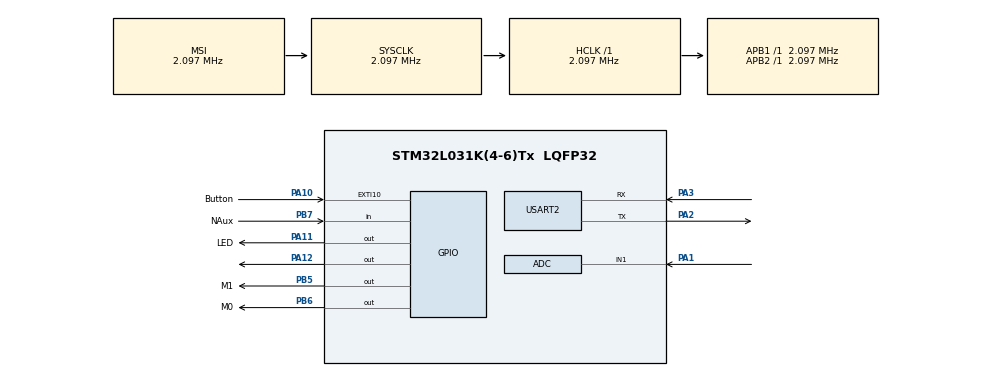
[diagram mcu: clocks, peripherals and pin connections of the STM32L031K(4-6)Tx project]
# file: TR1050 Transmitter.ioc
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Mcu.Family=STM32L0
Mcu.Name=STM32L031K(4-6)Tx
Mcu.Package=LQFP32
PA1.Mode=IN1
PA1.Signal=ADC_IN1
PA10.GPIO_Label=Button
PA10.Signal=GPXTI10
PA11.GPIO_Label=LED
PA11.Signal=GPIO_Output
PA12.Signal=GPIO_Output
PA13.Mode=Serial_Wire
PA13.Signal=SYS_SWDIO
PA14.Mode=Serial_Wire
PA14.Signal=SYS_SWCLK
PA2.Mode=Asynchronous
PA2.Signal=USART2_TX
PA3.Mode=Asynchronous
PA3.Signal=USART2_RX
PB5.GPIO_Label=M1
PB5.Signal=GPIO_Output
PB6.GPIO_Label=M0
PB6.Signal=GPIO_Output
PB7.GPIO_Label=NAux
PB7.Signal=GPIO_Input
ProjectManager.HeapSize=0x200
ProjectManager.StackSize=0x400
ProjectManager.TargetToolchain=STM32CubeIDE
RCC.AHBFreq_Value=2097000
RCC.APB1Freq_Value=2097000
RCC.APB1TimFreq_Value=2097000
RCC.APB2Freq_Value=2097000
RCC.APB2TimFreq_Value=2097000
RCC.HSE_VALUE=8000000
RCC.HSI16_VALUE=16000000
RCC.HSI_VALUE=16000000
RCC.LSE_VALUE=32768
RCC.MSI_VALUE=2097000
RCC.SYSCLKFreq_VALUE=2097000
RCC.VCOOutputFreq_Value=48000000
USART2.VirtualMode-Asynchronous=VM_ASYNC
board=custom

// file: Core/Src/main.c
/* USER CODE BEGIN Header */
/* USER CODE END Header */
#include "main.h"
/* USER CODE BEGIN Includes */
#include "aes.h"
#include <string.h>
#include <stdio.h>
/* USER CODE END Includes */

/* USER CODE BEGIN PTD */
typedef enum {
    E22_MODE_NORMAL = 0,      // M1=0, M0=0 - Transparent transmission
    E22_MODE_WOR = 1,         // M1=0, M0=1 - Wake on radio
    E22_MODE_POWERSAVE = 3,   // M1=1, M0=1 - Sleep mode
    E22_MODE_CONFIG = 2       // M1=1, M0=0 - Configuration mode
} E22_Mode_t;

// E22 Configuration Structure (Per datasheet section 7.2)
typedef struct __attribute__((packed)) {
    uint8_t addh;           // 0x00: Address high byte
    uint8_t addl;           // 0x01: Address low byte
    uint8_t netid;          // 0x02: Network ID
    uint8_t reg0;           // 0x03: UART baud + parity + air data rate
    uint8_t reg1;           // 0x04: Sub-packet + RSSI ambient noise + TX power
    uint8_t reg2;           // 0x05: Channel (0-80)
    uint8_t reg3;           // 0x06: RSSI enable + fixed point + repeater + LBT + WOR
    uint8_t crypt_h;        // 0x07: Encryption key high (write only)
    uint8_t crypt_l;        // 0x08: Encryption key low (write only)
} E22_Config_t;

// LoRa Packet Structure (must match repeater and controller)
typedef struct __attribute__((packed)) {
    uint8_t device_id;
    uint8_t nc_number;
    uint32_t counter;
    uint16_t battery_mv;
    uint8_t status;
    uint32_t timestamp;
    uint8_t mac[4];
    uint8_t padding[15];
} LoRaPacket;
/* USER CODE END PTD */

/* USER CODE BEGIN PD */
// Configuration
#define DEVICE_ID 0x01              // Unique device ID
#define NC_NUMBER 0x01              // Network controller number
#define BATTERY_LOW_THRESHOLD 10.5  // Volts
#define UART_TIMEOUT 1000           // ms

// E22 Commands
#define E22_CMD_READ_CONFIG     0xC1
#define E22_CMD_WRITE_CONFIG    0xC0
#define E22_CMD_READ_VERSION    0xC3

// AES-128 Key (MUST match all nodes - CHANGE THIS!)
const uint8_t AES_KEY[16] = {
    0x2B, 0x7E, 0x15, 0x16, 0x28, 0xAE, 0xD2, 0xA6,
    0xAB, 0xF7, 0x97, 0x46, 0x09, 0xCF, 0x4F, 0x3C
};
/* USER CODE END PD */

ADC_HandleTypeDef hadc;

UART_HandleTypeDef huart2;

void SystemClock_Config(void);
static void MX_GPIO_Init(void);
static void MX_USART2_UART_Init(void);
static void MX_ADC_Init(void);
/* USER CODE BEGIN PFP */
static uint32_t packet_counter = 0;
static struct AES_ctx aes_ctx;
// E22 Module Functions
void E22_Set_Mode(E22_Mode_t mode);
void E22_Wait_AUX_High(void);
void E22_Configure(void);

// Application Functions
float Read_Battery_Voltage(void);
void Send_LoRa_Packet(void);
void Enter_Stop_Mode(void);
void TR_Init(void);
void TR_Main_Cycle(void);

// Encryption Functions
void Compute_MAC(uint8_t* data, uint16_t len, uint8_t* mac_out);
void Encrypt_Packet(LoRaPacket* pkt);

// Debug Functions
//void Debug_Print(const char* msg);
/* USER CODE END PFP */

/* USER CODE BEGIN 0 */
void E22_Set_Mode(E22_Mode_t mode) {
    switch(mode) {
        case E22_MODE_NORMAL:
            HAL_GPIO_WritePin(GPIOB, M0_Pin, GPIO_PIN_RESET);
            HAL_GPIO_WritePin(GPIOB, M1_Pin, GPIO_PIN_RESET);
            //Debug_Print("[E22] Mode: NORMAL\r\n");
            break;
        case E22_MODE_WOR:
            HAL_GPIO_WritePin(GPIOB, M0_Pin, GPIO_PIN_SET);
            HAL_GPIO_WritePin(GPIOB, M1_Pin, GPIO_PIN_RESET);
            //Debug_Print("[E22] Mode: WOR\r\n");
            break;
        case E22_MODE_POWERSAVE:
            HAL_GPIO_WritePin(GPIOB, M0_Pin, GPIO_PIN_SET);
            HAL_GPIO_WritePin(GPIOB, M1_Pin, GPIO_PIN_SET);
            //Debug_Print("[E22] Mode: POWER SAVE\r\n");
            break;
        case E22_MODE_CONFIG:
            HAL_GPIO_WritePin(GPIOB, M0_Pin, GPIO_PIN_RESET);
            HAL_GPIO_WritePin(GPIOB, M1_Pin, GPIO_PIN_SET);
            //Debug_Print("[E22] Mode: CONFIG\r\n");
            break;
    }
    HAL_Delay(50); // Wait for mode change
}

void E22_Wait_AUX_High(void) {
    uint32_t timeout = HAL_GetTick() + 2000;
    while (HAL_GPIO_ReadPin(GPIOB, NAux_Pin) == GPIO_PIN_RESET) {
            if (HAL_GetTick() > timeout) {
                //Debug_Print("[E22] AUX timeout!\r\n");
                break;
            }
            HAL_Delay(1);
    }
}

// ===================== E22 CONFIGURATION =====================
void E22_Configure(void) {
    E22_Config_t config;
    uint8_t cmd_buf[12];

    //Debug_Print("[E22] Configuring module...\r\n");

    // Enter config mode
    E22_Set_Mode(E22_MODE_CONFIG);
    E22_Wait_AUX_High();
    HAL_Delay(50);

    // Read current configuration (datasheet section 7.1)
    cmd_buf[0] = E22_CMD_READ_CONFIG;  // 0xC1
    cmd_buf[1] = 0x00;                  // Start address
    cmd_buf[2] = 0x09;                  // Length (9 bytes: 0x00-0x08)

    HAL_UART_Transmit(&huart2, cmd_buf, 3, UART_TIMEOUT);
    HAL_Delay(100);

    uint8_t rx_buf[12];
    HAL_StatusTypeDef status = HAL_UART_Receive(&huart2, rx_buf, 12, UART_TIMEOUT);

    if (status == HAL_OK && rx_buf[0] == 0xC1) {
        // Parse response (format: C1 + start_addr + length + data)
        memcpy(&config, &rx_buf[3], 9);
        //Debug_Print("[E22] Config read OK\r\n");
    } else {
        // Use defaults if read fails
        memset(&config, 0, sizeof(config));
        //Debug_Print("[E22] Using defaults\r\n");
    }

    // Configure registers per datasheet
    config.addh = 0x00;           // Module address high (broadcast)
    config.addl = 0x00;           // Module address low (broadcast)
    config.netid = NC_NUMBER;     // Network ID (must match NC and XR)

    // REG0 (0x03): UART + Air data rate
    // Bits 7-5: UART baud (011 = 9600)
    // Bits 4-3: Parity (00 = 8N1)
    // Bits 2-0: Air rate (010 = 2.4kbps)
    config.reg0 = 0x62;           // 0b01100010 = 9600bps, 8N1, 2.4kbps

    // REG1 (0x04): Sub-packet + RSSI + Power
    // Bits 7-6: Sub-packet (00 = 240 bytes)
    // Bit 5: RSSI ambient noise (0 = disabled)
    // Bits 4-2: Reserved (000)
    // Bits 1-0: TX power (00 = 22dBm)
    config.reg1 = 0x00;           // 0b00000000 = 240 bytes, no ambient RSSI, 22dBm

    // REG2 (0x05): Channel
    // Channel = 0x11 (17) → Frequency = 850.125 + 17*1 = 867.125 MHz
    // For 915 MHz: use channel 0x41 (65) → 915.125 MHz
    config.reg2 = 0x41;           // Channel 65 = 915.125 MHz (adjust for region)

    // REG3 (0x06): RSSI + Fixed point + Repeater + LBT + WOR
    // Bit 7: RSSI enable (0 = disabled)
    // Bit 6: Fixed point (0 = transparent mode)
    // Bit 5: Repeater (0 = disabled)
    // Bit 4: LBT (0 = disabled)
    // Bit 3: WOR mode (0 = WOR receiver)
    // Bits 2-0: WOR cycle (000 = 500ms)
    config.reg3 = 0x00;           // 0b00000000 = All disabled, transparent mode

    // Encryption keys (write only, read returns 0)
    config.crypt_h = 0x00;        // No hardware encryption (we use AES)
    config.crypt_l = 0x00;

    // Write configuration (datasheet section 7.1)
    cmd_buf[0] = E22_CMD_WRITE_CONFIG;  // 0xC0
    cmd_buf[1] = 0x00;                   // Start address
    cmd_buf[2] = 0x09;                   // Length
    memcpy(&cmd_buf[3], &config, 9);

    HAL_UART_Transmit(&huart2, cmd_buf, 12, UART_TIMEOUT);
    E22_Wait_AUX_High();
    HAL_Delay(100);

    // Verify configuration by reading back
    cmd_buf[0] = E22_CMD_READ_CONFIG;
    cmd_buf[1] = 0x00;
    cmd_buf[2] = 0x09;
    HAL_UART_Transmit(&huart2, cmd_buf, 3, UART_TIMEOUT);
    HAL_Delay(50);

    if (HAL_UART_Receive(&huart2, rx_buf, 12, UART_TIMEOUT) == HAL_OK) {
        if (rx_buf[0] == 0xC1 && rx_buf[5] == config.reg0) {
        	HAL_GPIO_WritePin(GPIOA, LED_Pin, GPIO_PIN_SET);
        	HAL_Delay(50);
        	HAL_GPIO_WritePin(GPIOA, LED_Pin, GPIO_PIN_RESET);
        } else {
            for (int i = 0; i <= 2; i++)
            {
            	HAL_GPIO_WritePin(GPIOA, LED_Pin, GPIO_PIN_SET);
            	HAL_Delay(50);
            	HAL_GPIO_WritePin(GPIOA, LED_Pin, GPIO_PIN_RESET);
            }
        }
    }

    //Debug_Print("[E22] Configuration complete\r\n");

    // Return to normal mode
    E22_Set_Mode(E22_MODE_NORMAL);
    HAL_Delay(50);
}

// ===================== BATTERY MEASUREMENT =====================
float Read_Battery_Voltage(void) {
    uint32_t adc_value = 0;

    // Start ADC conversion
    HAL_ADC_Start(&hadc);
    if (HAL_ADC_PollForConversion(&hadc, 100) == HAL_OK) {
        adc_value = HAL_ADC_GetValue(&hadc);
    }
    HAL_ADC_Stop(&hadc);

    // Voltage divider calculation: 51K + 51K (divide by 2)
    // Vbatt = (ADC / 4096) * 3.3V * 2
    float voltage = (adc_value / 4096.0f) * 3.3f * 2.0f;

    return voltage;
}

// ===================== ENCRYPTION & MAC =====================
void Compute_MAC(uint8_t* data, uint16_t len, uint8_t* mac_out) {
    uint8_t temp[16] = {0};

    // Copy last 16 bytes (or less if packet smaller)
    uint16_t copy_len = (len >= 16) ? 16 : len;
    memcpy(temp, data + len - copy_len, copy_len);

    // Encrypt to generate MAC
    AES_init_ctx(&aes_ctx, AES_KEY);
    AES_ECB_encrypt(&aes_ctx, temp);

    // Use first 4 bytes as MAC
    memcpy(mac_out, temp, 4);
}

void Encrypt_Packet(LoRaPacket* pkt) {
    // Encrypt entire packet (16 bytes exactly)
    AES_init_ctx(&aes_ctx, AES_KEY);
    for (int i = 0; i < 32; i += 16) {
        AES_ECB_encrypt(&aes_ctx, ((uint8_t*)pkt) + i);
    }

}

// ===================== LORA TRANSMIT =====================
void Send_LoRa_Packet(void) {
    LoRaPacket packet = {0};
    char debug_msg[64];

    //Debug_Print("\r\n[TX] Building packet...\r\n");

    // LED ON
    HAL_GPIO_WritePin(GPIOA, LED_Pin, GPIO_PIN_SET);

    // Read battery voltage
    float battery = Read_Battery_Voltage();

    // Build packet
    packet.device_id = DEVICE_ID;
    packet.nc_number = NC_NUMBER;
    packet.counter = packet_counter++;
    packet.battery_mv = (uint16_t)(battery * 1000);
    packet.status = (battery < BATTERY_LOW_THRESHOLD) ? 0x01 : 0x00;
    packet.timestamp = HAL_GetTick();

    // Compute MAC (before encryption)
    Compute_MAC((uint8_t*)&packet, sizeof(packet) - 4, packet.mac);

    // Encrypt packet
    Encrypt_Packet(&packet);

    //Debug_Print("[TX] Packet encrypted\r\n");

    // Ensure module is ready
    E22_Wait_AUX_High();

    // Send via UART (transparent mode)
    HAL_StatusTypeDef status = HAL_UART_Transmit(&huart2, (uint8_t*)&packet,
                                                  sizeof(packet), UART_TIMEOUT);

    if (status == HAL_OK) {
        //Debug_Print("[TX] Packet sent successfully\r\n");
    	HAL_GPIO_WritePin(GPIOA, LED_Pin, GPIO_PIN_RESET);
    	HAL_Delay(50);
    	HAL_GPIO_WritePin(GPIOA, LED_Pin, GPIO_PIN_SET);
    } else {
        //Debug_Print("[TX] ERROR: Transmission failed\r\n");
    	 for (int i = 0; i <= 2; i++)
    	  {
    	     HAL_GPIO_WritePin(GPIOA, LED_Pin, GPIO_PIN_SET);
    	     HAL_Delay(50);
    	     HAL_GPIO_WritePin(GPIOA, LED_Pin, GPIO_PIN_RESET);
    	  }
    }

    // Wait for transmission to complete
    E22_Wait_AUX_High();
    HAL_Delay(100);

    // LED OFF
    HAL_GPIO_WritePin(GPIOA, LED_Pin, GPIO_PIN_RESET);
}

// ===================== POWER MANAGEMENT =====================
void Enter_Stop_Mode(void) {
    //Debug_Print("[PWR] Entering sleep mode...\r\n\r\n");
    HAL_Delay(50); // Allow UART to finish

    // Put E22 in power save mode
    E22_Set_Mode(E22_MODE_POWERSAVE);

    // Enter STOP mode (will wake on EXTI interrupt)
    HAL_SuspendTick();
    HAL_PWR_EnterSTOPMode(PWR_LOWPOWERREGULATOR_ON, PWR_STOPENTRY_WFI);

    // Woken up - reconfigure clocks
    HAL_ResumeTick();
    SystemClock_Config();

    // Wake E22 back to normal mode
    E22_Set_Mode(E22_MODE_NORMAL);
    HAL_Delay(50);

    //Debug_Print("[PWR] Woken up!\r\n");
}

// ===================== INITIALIZATION =====================
void TR_Init(void) {
    char msg[64];

    //Debug_Print("\r\n=================================\r\n");
    //Debug_Print("  Nova TR - Secure Transmitter\r\n");
    //Debug_Print("=================================\r\n");

    sprintf(msg, "Device ID: 0x%02X\r\n", DEVICE_ID);
    //Debug_Print(msg);

    sprintf(msg, "NC Number: 0x%02X\r\n", NC_NUMBER);
    //Debug_Print(msg);

    // Initialize GPIO for mode control
    HAL_GPIO_WritePin(GPIOB, M0_Pin, GPIO_PIN_RESET);
    HAL_GPIO_WritePin(GPIOB, M1_Pin, GPIO_PIN_RESET);
    HAL_Delay(100);

    // Configure E22 module
    E22_Configure();

    // Test battery reading
    float battery = Read_Battery_Voltage();

    if (battery < BATTERY_LOW_THRESHOLD) {
        //Debug_Print("WARNING: Battery LOW!\r\n");
    }

    // Initial LED blink pattern
    for (int i = 0; i < 5; i++) {
        HAL_GPIO_WritePin(GPIOA, LED_Pin, GPIO_PIN_SET);
        HAL_Delay(100);
        HAL_GPIO_WritePin(GPIOA, LED_Pin, GPIO_PIN_RESET);
        HAL_Delay(100);
    }

    //Debug_Print("[TR] Initialization complete\r\n");
    //Debug_Print("Press button to send packet...\r\n\r\n");
}

// ===================== MAIN CYCLE =====================
void TR_Main_Cycle(void) {
    // Send packet
    Send_LoRa_Packet();

    // Enter sleep mode (wake on button press)
    Enter_Stop_Mode();
}
/* USER CODE END 0 */

int main(void)
{

  /* MCU Configuration--------------------------------------------------------*/

  /* Reset of all peripherals, Initializes the Flash interface and the Systick. */
  HAL_Init();

  /* Configure the system clock */
  SystemClock_Config();

  /* Initialize all configured peripherals */
  MX_GPIO_Init();
  MX_USART2_UART_Init();
  MX_ADC_Init();
  /* USER CODE BEGIN 2 */
  TR_Init();
  /* USER CODE END 2 */

  /* Infinite loop */
  while (1)
   {

    /* USER CODE BEGIN 3 */

     // Check if button pressed (PC13 - blue button)
     if (HAL_GPIO_ReadPin(GPIOA, Button_Pin) == GPIO_PIN_RESET) {
         HAL_Delay(50); // Debounce
         if (HAL_GPIO_ReadPin(GPIOA, Button_Pin) == GPIO_PIN_RESET) {
             // Button confirmed pressed
             //Debug_Print("[BTN] Button pressed\r\n");
             TR_Main_Cycle();

             // Wait for release
             while (HAL_GPIO_ReadPin(GPIOA, Button_Pin) == GPIO_PIN_RESET) {
                 HAL_Delay(10);
             }
             HAL_Delay(50); // Debounce release
         }
     }

     HAL_Delay(10); // Small delay to prevent tight loop
   }
    /* USER CODE END WHILE */

    /* USER CODE BEGIN 3 */
  /* USER CODE END 3 */
}

void SystemClock_Config(void)
{
  RCC_OscInitTypeDef RCC_OscInitStruct = {0};
  RCC_ClkInitTypeDef RCC_ClkInitStruct = {0};
  RCC_PeriphCLKInitTypeDef PeriphClkInit = {0};

  /** Configure the main internal regulator output voltage
  */
  __HAL_PWR_VOLTAGESCALING_CONFIG(PWR_REGULATOR_VOLTAGE_SCALE1);

  /** Initializes the RCC Oscillators according to the specified parameters
  * in the RCC_OscInitTypeDef structure.
  */
  RCC_OscInitStruct.OscillatorType = RCC_OSCILLATORTYPE_MSI;
  RCC_OscInitStruct.MSIState = RCC_MSI_ON;
  RCC_OscInitStruct.MSICalibrationValue = 0;
  RCC_OscInitStruct.MSIClockRange = RCC_MSIRANGE_5;
  RCC_OscInitStruct.PLL.PLLState = RCC_PLL_NONE;
  if (HAL_RCC_OscConfig(&RCC_OscInitStruct) != HAL_OK)
  {
    Error_Handler();
  }

  /** Initializes the CPU, AHB and APB buses clocks
  */
  RCC_ClkInitStruct.ClockType = RCC_CLOCKTYPE_HCLK|RCC_CLOCKTYPE_SYSCLK
                              |RCC_CLOCKTYPE_PCLK1|RCC_CLOCKTYPE_PCLK2;
  RCC_ClkInitStruct.SYSCLKSource = RCC_SYSCLKSOURCE_MSI;
  RCC_ClkInitStruct.AHBCLKDivider = RCC_SYSCLK_DIV1;
  RCC_ClkInitStruct.APB1CLKDivider = RCC_HCLK_DIV1;
  RCC_ClkInitStruct.APB2CLKDivider = RCC_HCLK_DIV1;

  if (HAL_RCC_ClockConfig(&RCC_ClkInitStruct, FLASH_LATENCY_0) != HAL_OK)
  {
    Error_Handler();
  }
  PeriphClkInit.PeriphClockSelection = RCC_PERIPHCLK_USART2;
  PeriphClkInit.Usart2ClockSelection = RCC_USART2CLKSOURCE_PCLK1;
  if (HAL_RCCEx_PeriphCLKConfig(&PeriphClkInit) != HAL_OK)
  {
    Error_Handler();
  }
}

static void MX_ADC_Init(void)
{

  ADC_ChannelConfTypeDef sConfig = {0};

  /** Configure the global features of the ADC (Clock, Resolution, Data Alignment and number of conversion)
  */
  hadc.Instance = ADC1;
  hadc.Init.OversamplingMode = DISABLE;
  hadc.Init.ClockPrescaler = ADC_CLOCK_SYNC_PCLK_DIV1;
  hadc.Init.Resolution = ADC_RESOLUTION_12B;
  hadc.Init.SamplingTime = ADC_SAMPLETIME_1CYCLE_5;
  hadc.Init.ScanConvMode = ADC_SCAN_DIRECTION_FORWARD;
  hadc.Init.DataAlign = ADC_DATAALIGN_RIGHT;
  hadc.Init.ContinuousConvMode = DISABLE;
  hadc.Init.DiscontinuousConvMode = DISABLE;
  hadc.Init.ExternalTrigConvEdge = ADC_EXTERNALTRIGCONVEDGE_NONE;
  hadc.Init.ExternalTrigConv = ADC_SOFTWARE_START;
  hadc.Init.DMAContinuousRequests = DISABLE;
  hadc.Init.EOCSelection = ADC_EOC_SINGLE_CONV;
  hadc.Init.Overrun = ADC_OVR_DATA_PRESERVED;
  hadc.Init.LowPowerAutoWait = DISABLE;
  hadc.Init.LowPowerFrequencyMode = ENABLE;
  hadc.Init.LowPowerAutoPowerOff = DISABLE;
  if (HAL_ADC_Init(&hadc) != HAL_OK)
  {
    Error_Handler();
  }

  /** Configure for the selected ADC regular channel to be converted.
  */
  sConfig.Channel = ADC_CHANNEL_1;
  sConfig.Rank = ADC_RANK_CHANNEL_NUMBER;
  if (HAL_ADC_ConfigChannel(&hadc, &sConfig) != HAL_OK)
  {
    Error_Handler();
  }

}

static void MX_USART2_UART_Init(void)
{

  huart2.Instance = USART2;
  huart2.Init.BaudRate = 115200;
  huart2.Init.WordLength = UART_WORDLENGTH_8B;
  huart2.Init.StopBits = UART_STOPBITS_1;
  huart2.Init.Parity = UART_PARITY_NONE;
  huart2.Init.Mode = UART_MODE_TX_RX;
  huart2.Init.HwFlowCtl = UART_HWCONTROL_NONE;
  huart2.Init.OverSampling = UART_OVERSAMPLING_16;
  huart2.Init.OneBitSampling = UART_ONE_BIT_SAMPLE_DISABLE;
  huart2.AdvancedInit.AdvFeatureInit = UART_ADVFEATURE_NO_INIT;
  if (HAL_UART_Init(&huart2) != HAL_OK)
  {
    Error_Handler();
  }

}

static void MX_GPIO_Init(void)
{
  GPIO_InitTypeDef GPIO_InitStruct = {0};

  /* GPIO Ports Clock Enable */
  __HAL_RCC_GPIOA_CLK_ENABLE();
  __HAL_RCC_GPIOB_CLK_ENABLE();

  /*Configure GPIO pin Output Level */
  HAL_GPIO_WritePin(GPIOA, LED_Pin|GPIO_PIN_12, GPIO_PIN_RESET);

  /*Configure GPIO pin Output Level */
  HAL_GPIO_WritePin(GPIOB, M1_Pin|M0_Pin, GPIO_PIN_RESET);

  /*Configure GPIO pin : Button_Pin */
  GPIO_InitStruct.Pin = Button_Pin;
  GPIO_InitStruct.Mode = GPIO_MODE_IT_RISING;
  GPIO_InitStruct.Pull = GPIO_NOPULL;
  HAL_GPIO_Init(Button_GPIO_Port, &GPIO_InitStruct);

  /*Configure GPIO pins : LED_Pin PA12 */
  GPIO_InitStruct.Pin = LED_Pin|GPIO_PIN_12;
  GPIO_InitStruct.Mode = GPIO_MODE_OUTPUT_PP;
  GPIO_InitStruct.Pull = GPIO_NOPULL;
  GPIO_InitStruct.Speed = GPIO_SPEED_FREQ_LOW;
  HAL_GPIO_Init(GPIOA, &GPIO_InitStruct);

  /*Configure GPIO pins : M1_Pin M0_Pin */
  GPIO_InitStruct.Pin = M1_Pin|M0_Pin;
  GPIO_InitStruct.Mode = GPIO_MODE_OUTPUT_PP;
  GPIO_InitStruct.Pull = GPIO_NOPULL;
  GPIO_InitStruct.Speed = GPIO_SPEED_FREQ_LOW;
  HAL_GPIO_Init(GPIOB, &GPIO_InitStruct);

  /*Configure GPIO pin : NAux_Pin */
  GPIO_InitStruct.Pin = NAux_Pin;
  GPIO_InitStruct.Mode = GPIO_MODE_INPUT;
  GPIO_InitStruct.Pull = GPIO_NOPULL;
  HAL_GPIO_Init(NAux_GPIO_Port, &GPIO_InitStruct);

}

void Error_Handler(void)
{
}
